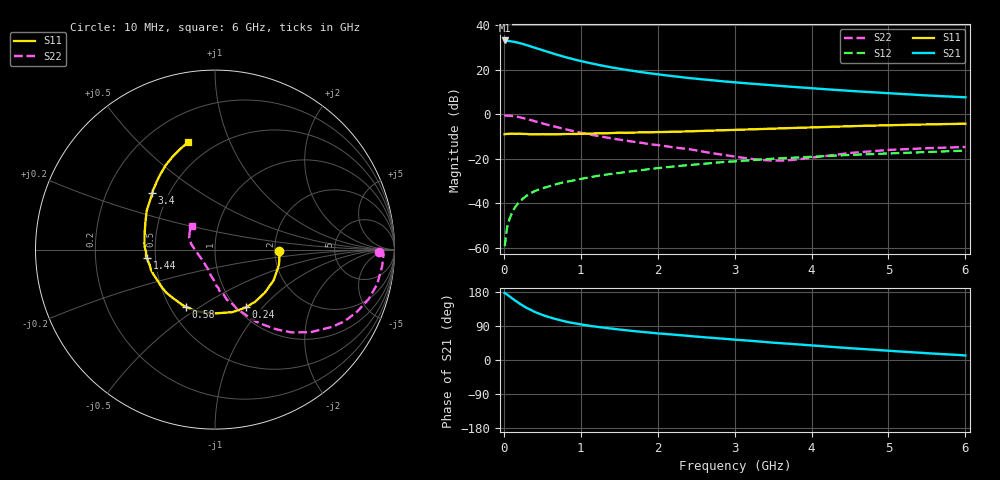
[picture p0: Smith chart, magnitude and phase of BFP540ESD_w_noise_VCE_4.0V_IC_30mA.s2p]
! Infineon Technologies  Discrete & RF Semiconductors
! BFP540ESD
! VCE =  4.0 V,  IC =  30 mA
! Common Emitter S-Parameters:  Nov 2015
# GHz  S  MA  R  50
!  f  S11  S21  S12  S22
! GHz  MAG  ANG  MAG  ANG  MAG  ANG  MAG  ANG
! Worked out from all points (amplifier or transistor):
!   210 points, 10 MHz to 6 GHz, reference 50 ohm
!   highest |S21| = 33.2 dB at 10 MHz (marker M1)
!   |S21| within 3 dB of that: start of sweep to 378.2 MHz
!   unconditionally stable (mu >= 1): start of sweep to 18.72 MHz; 1.918 GHz to end of sweep
!   at 185 MHz: K = 0.32, MSG = 36.0 dB, |S12| = -39.9 dB
!   at 1.52 GHz: K = 0.94, MSG = 23.3 dB, |S12| = -26.2 dB
!   at 6 GHz: K = 1.10, MAG = 10.0 dB, |S12| = -16.3 dB
!   lowest NFmin = 1.41 dB at 900 MHz
!   S11 on the Smith chart (normalised r, x): 10 MHz: 2.11, -0.04; 240 MHz: 1.10, -0.82; 580 MHz: 0.60, -0.44; 1.44 GHz: 0.45, -0.05; 3.4 GHz: 0.41, +0.33; 6 GHz: 0.37, +0.71
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0.01  0.3572 -1.2  45.47 177.3  0.0011 58.7  0.9152 -0.8
0.02  0.3611 -5.1  44.56 176.3  0.0014 75.7  0.9395 -1.5
0.05  0.3663 -13.3  44.49 171.4  0.0033 77.9  0.9362 -5.6
0.1  0.3688 -27.4  43.43 163.8  0.0058 76.8  0.9242 -12.0
0.15  0.3671 -40.6  41.93 156.4  0.0084 75.3  0.8987 -18.0
0.2  0.3668 -52.6  40.01 149.4  0.0109 72.7  0.8639 -23.6
0.24  0.3641 -61.5  38.24 144.3  0.0125 71.1  0.8338 -27.6
0.3  0.3616 -74.6  35.67 137.1  0.0151 68.7  0.7843 -33.2
0.4  0.3569 -92.3  31.34 127.0  0.0189 66.8  0.7031 -40.9
0.5  0.3588 -107.5  27.59 118.6  0.0219 65.1  0.6274 -47.3
0.58  0.3571 -117.3  24.85 113.4  0.024 64.0  0.5757 -51.1
0.7  0.3574 -129.4  21.53 106.4  0.0277 62.8  0.5088 -56.3
0.8  0.3624 -138.5  19.19 101.5  0.0304 62.5  0.4608 -60.4
1.02  0.3654 -153.3  15.39 93.3  0.036 61.5  0.3808 -66.6
1.2  0.3744 -162.8  13.14 87.8  0.041 60.5  0.333 -71.1
1.44  0.3828 -172.7  11 81.8  0.047 60.2  0.2815 -77.0
2.02  0.4005 168.9  7.814 70.0  0.0626 56.7  0.2027 -87.6
3.1  0.4509 143.9  5.057 52.3  0.0906 48.3  0.1065 -116.3
3.4  0.471 137.9  4.596 47.5  0.0985 45.4  0.0936 -134.1
4.1  0.5168 126.3  3.745 37.0  0.1135 39.1  0.1116 -179.6
5.1  0.575 113.1  2.911 23.1  0.1345 29.9  0.1613 152.6
6  0.6161 104.1  2.411 12.0  0.1533 23.0  0.1855 133.8
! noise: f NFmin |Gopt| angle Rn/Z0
0.9  1.41  0.38  -138  0.12
1.8  1.56  0.4  -142  0.12
2.4  1.58  0.41  -133  0.14
3  1.7  0.43  -126  0.17
4  1.76  0.52  -104  0.29
5  1.88  0.59  -87  0.46
6  2.22  0.57  -86  0.68
